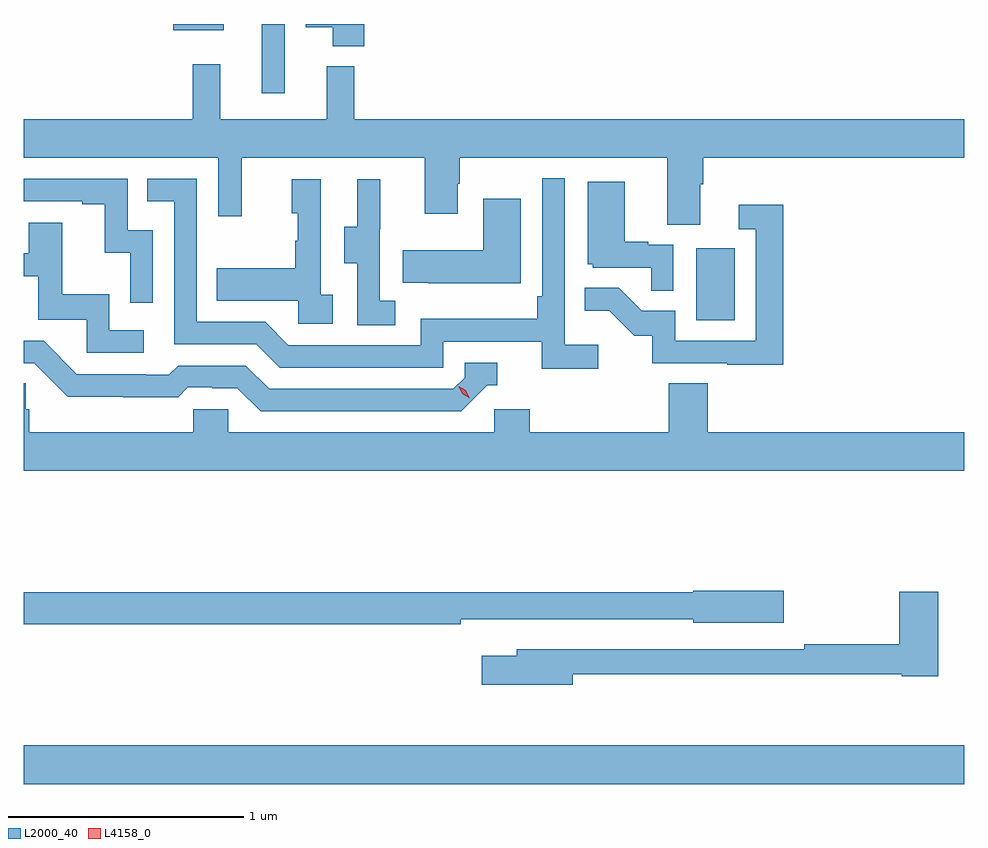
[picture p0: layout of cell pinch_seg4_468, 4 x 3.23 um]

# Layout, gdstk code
import gdstk
lib = gdstk.Library(unit=1e-6, precision=1e-09)
def R(c, l, rs):  # rectangles x0, y0, x1, y1
    for r in rs: c.add(gdstk.rectangle(r[:2], r[2:], *l))
def P(c, l, *ps):  # polygons
    for p in ps: c.add(gdstk.Polygon(p, *l))
L2000_40 = (2000, 40)
L4158_0 = (4158, 0)

pinch_seg4_468 = lib.new_cell('pinch_seg4_468')
R(pinch_seg4_468, L2000_40, [(897.099,763.52,901.099,763.684), (899.96,765.492,900.124,765.799), (898.112,766.458,898.209,766.753), (897.734,766.727,897.949,766.753)])
P(pinch_seg4_468, L2000_40, [(898.547,766.753),(898.298,766.753),(898.298,766.739),(898.412,766.739),(898.412,766.658),(898.547,766.658)],
  [(899.977,766.072),(899.99,766.072),(899.99,766.184),(901.099,766.184),(901.099,766.348),(898.505,766.348),(898.505,766.573),(898.388,766.573),(898.388,766.348),(897.935,766.348),(897.935,766.582),(897.817,766.582),(897.817,766.348),(897.099,766.348),(897.099,766.184),(897.927,766.184),(897.927,765.936),(898.025,765.936),(898.025,766.184),(898.805,766.184),(898.805,765.945),(898.945,765.945),(898.945,766.073),(898.953,766.073),(898.953,766.184),(899.837,766.184),(899.837,765.898),(899.977,765.898)],
  [(899.542,765.388),(899.4,765.388),(899.4,766.096),(899.304,766.096),(899.304,765.595),(899.284,765.595),(899.284,765.499),(898.788,765.499),(898.788,765.387),(898.224,765.387),(898.125,765.486),(897.834,765.486),(897.834,766.095),(897.625,766.095),(897.625,765.999),(897.738,765.999),(897.738,765.39),(898.088,765.39),(898.187,765.291),(898.884,765.291),(898.884,765.402),(899.303,765.402),(899.303,765.286),(899.542,765.286)],
  [(897.648,765.876),(897.54,765.876),(897.54,766.095),(897.099,766.095),(897.099,765.999),(897.347,765.999),(897.347,765.987),(897.443,765.987),(897.443,765.779),(897.552,765.779),(897.552,765.567),(897.648,765.567)],
  [(898.678,765.575),(898.614,765.575),(898.614,765.879),(898.616,765.879),(898.616,766.093),(898.517,766.093),(898.517,765.891),(898.463,765.891),(898.463,765.736),(898.518,765.736),(898.518,765.472),(898.678,765.472)],
  [(898.414,765.602),(898.362,765.602),(898.362,766.093),(898.238,766.093),(898.238,765.948),(898.264,765.948),(898.264,765.83),(898.254,765.83),(898.254,765.715),(897.919,765.715),(897.919,765.575),(898.266,765.575),(898.266,765.477),(898.414,765.477)],
  [(899.862,765.813),(899.756,765.813),(899.756,765.826),(899.656,765.826),(899.656,766.081),(899.498,766.081),(899.498,765.732),(899.52,765.732),(899.52,765.717),(899.767,765.717),(899.767,765.619),(899.862,765.619)],
  [(899.212,766.009),(899.054,766.009),(899.054,765.79),(898.711,765.79),(898.711,765.653),(898.819,765.653),(898.819,765.65),(899.212,765.65)],
  [(900.329,765.985),(900.141,765.985),(900.141,765.879),(900.213,765.879),(900.213,765.405),(899.871,765.405),(899.871,765.534),(899.727,765.534),(899.629,765.632),(899.485,765.632),(899.485,765.533),(899.589,765.533),(899.696,765.426),(899.773,765.426),(899.773,765.309),(900.091,765.309),(900.091,765.304),(900.329,765.304)],
  [(897.61,765.45),(897.462,765.45),(897.462,765.604),(897.263,765.604),(897.263,765.907),(897.119,765.907),(897.119,765.777),(897.099,765.777),(897.099,765.681),(897.161,765.681),(897.161,765.495),(897.366,765.495),(897.366,765.354),(897.61,765.354)],
  [(899.07,765.216),(899.113,765.216),(899.113,765.312),(898.974,765.312),(898.974,765.249),(898.926,765.201),(898.143,765.201),(898.044,765.3),(897.755,765.3),(897.716,765.261),(897.617,765.261),(897.617,765.264),(897.324,765.264),(897.183,765.405),(897.099,765.405),(897.099,765.309),(897.144,765.309),(897.286,765.167),(897.522,765.167),(897.522,765.165),(897.755,765.165),(897.797,765.207),(897.9,765.207),(897.9,765.204),(898.007,765.204),(898.106,765.105),(898.959,765.105)],
  [(901.099,765.016),(900.008,765.016),(900.008,765.224),(899.843,765.224),(899.843,765.016),(899.252,765.016),(899.252,765.114),(899.1,765.114),(899.1,765.016),(897.969,765.016),(897.969,765.114),(897.819,765.114),(897.819,765.016),(897.122,765.016),(897.122,765.114),(897.107,765.114),(897.107,765.224),(897.099,765.224),(897.099,764.852),(901.099,764.852)],
  [(898.958,764.22),(899.946,764.22),(899.946,764.207),(900.331,764.207),(900.331,764.342),(899.946,764.342),(899.946,764.336),(897.099,764.336),(897.099,764.2),(898.958,764.2)],
  [(899.434,763.986),(900.834,763.986),(900.834,763.978),(900.988,763.978),(900.988,764.338),(900.823,764.338),(900.823,764.114),(900.418,764.114),(900.418,764.094),(899.195,764.094),(899.195,764.065),(899.046,764.065),(899.046,763.943),(899.434,763.943)])
P(pinch_seg4_468, L4158_0, [(898.995,765.161),(898.964,765.18),(898.948,765.213),(898.948,765.213),(898.948,765.213),(898.979,765.194),(898.995,765.161),(898.995,765.161)])

lib.write_gds('pinch_seg4_468.gds')
